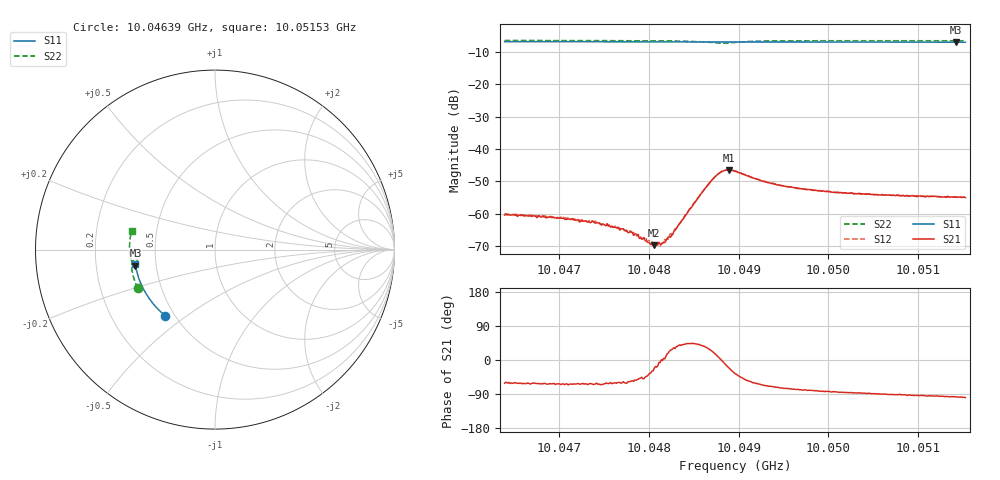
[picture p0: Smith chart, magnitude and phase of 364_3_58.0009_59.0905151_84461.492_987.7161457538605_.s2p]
#  HZ  S  RI  R  50.00
! Rohde & Schwarz Vector Network Analyzer
! Rohde-Schwarz,ZNB20-2Port,1311601062101988,3.16
! Created: UTC 3/21/2024, 1:06:39 AM
! freq[Hz]  re:S11  im:S11  re:S21  im:S21  re:S12  im:S12  re:S22  im:S22
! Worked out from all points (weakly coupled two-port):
!   401 points, 10.04639 GHz to 10.05153 GHz, reference 50 ohm
!   highest |S21| = -46.51 dB at 10.04889 GHz (marker M1); lowest = -69.9 dB at 10.04806 GHz (marker M2)
!   lowest |S11| = -6.9 dB at 10.05142 GHz (marker M3), VSWR 2.65, Z = 19 - j4.24 ohm
!   |S11| at or under -10 dB: nowhere
!   |S22| runs from -7.2 to -6.4 dB; largest |S21 - S12| = 0.00032
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1.004639e10  -0.2784 -0.3673  0.000454 -0.000829  0.000547 -0.000833  -0.43 -0.2155
1.0046916e10  -0.3046 -0.3446  0.000392 -0.000768  0.000448 -0.000773  -0.4439 -0.1829
1.004725e10  -0.3204 -0.329  0.000358 -0.000698  0.000389 -0.000696  -0.4512 -0.1613
1.0047391e10  -0.3267 -0.3221  0.000316 -0.000646  0.000384 -0.000644  -0.4544 -0.152
1.0047725e10  -0.3413 -0.3057  0.000275 -0.000472  0.000309 -0.000468  -0.4603 -0.1292
1.0047802e10  -0.3445 -0.3017  0.000289 -0.000425  0.000337 -0.000399  -0.4612 -0.1237
1.0047867e10  -0.3471 -0.2986  0.000289 -0.000371  0.000302 -0.000333  -0.4622 -0.1191
1.0048008e10  -0.353 -0.2912  0.000283 -0.000203  0.000318 -0.000189  -0.4638 -0.1085
1.0048059e10  -0.3549 -0.2883  0.000299 -0.000114  0.000302 -9.05e-05  -0.4642 -0.1046
1.0048111e10  -0.3571 -0.2859  0.000351 -3.87e-05  0.000357 -4.68e-05  -0.4647 -0.1009
1.0048162e10  -0.3591 -0.283  0.00036 2.81e-05  0.000351 3.25e-05  -0.4649 -0.0966
1.0048265e10  -0.363 -0.2777  0.000415 0.000234  0.000438 0.000263  -0.4651 -0.088
1.0048573e10  -0.3745 -0.2607  0.00153 0.00125  0.00141 0.00134  -0.4564 -0.0599
1.0048714e10  -0.3793 -0.2529  0.00322 0.00123  0.00316 0.00141  -0.4408 -0.0533
1.0048804e10  -0.3823 -0.248  0.00441 3.31e-05  0.00445 0.000295  -0.4317 -0.0608
1.0048894e10  -0.3852 -0.2432  0.00438 -0.00177  0.00448 -0.0015  -0.4351 -0.0723
1.0048958e10  -0.3875 -0.2396  0.00365 -0.00263  0.00387 -0.00243  -0.4431 -0.0754
1.0049344e10  -0.3998 -0.2175  0.00105 -0.00278  0.00124 -0.00273  -0.4705 -0.0481
1.0049819e10  -0.4132 -0.1892  0.0004 -0.00227  0.000495 -0.00227  -0.4763 -0.0111
1.0050679e10  -0.4322 -0.1362  -4.29e-05 -0.00193  8.29e-05 -0.00193  -0.4742 0.0488
1.0051424e10  -0.4431 -0.0886  -0.000227 -0.00178  -0.000119 -0.00178  -0.4662 0.098
1.0051527e10  -0.4445 -0.0821  -0.00028 -0.00175  -0.00017 -0.00178  -0.4647 0.1047
